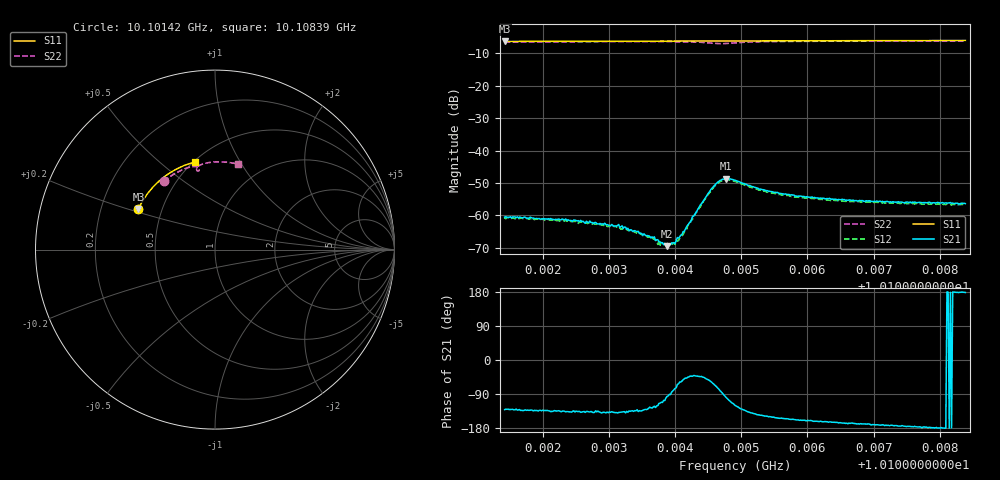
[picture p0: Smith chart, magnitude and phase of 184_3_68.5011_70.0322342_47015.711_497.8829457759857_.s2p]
#  HZ  S  RI  R  50.00
! Rohde & Schwarz Vector Network Analyzer
! Rohde-Schwarz,ZNB20-2Port,1311601062101988,3.16
! Created: UTC 3/20/2024, 4:56:51 PM
! freq[Hz]  re:S11  im:S11  re:S21  im:S21  re:S12  im:S12  re:S22  im:S22
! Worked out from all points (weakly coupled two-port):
!   401 points, 10.10142 GHz to 10.10839 GHz, reference 50 ohm
!   highest |S21| = -48.66 dB at 10.10476 GHz (marker M1); lowest = -69.5 dB at 10.10387 GHz (marker M2)
!   lowest |S11| = -6.3 dB at 10.10142 GHz (marker M3), VSWR 2.87, Z = 18.4 + j10.9 ohm
!   |S11| at or under -10 dB: nowhere
!   |S22| runs from -7.0 to -6.1 dB; largest |S21 - S12| = 0.00037
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1.0101415e10  -0.4268 0.2267  -0.000612 -0.000708  -0.000545 -0.000743  -0.2852 0.3808
1.0102305e10  -0.4011 0.2745  -0.000605 -0.000613  -0.000534 -0.000632  -0.2382 0.4149
1.0102584e10  -0.392 0.2887  -0.00059 -0.000544  -0.000525 -0.000589  -0.2225 0.4244
1.0103072e10  -0.3749 0.3131  -0.000511 -0.000452  -0.000473 -0.000475  -0.1938 0.4395
1.0103159e10  -0.3716 0.3173  -0.000485 -0.000437  -0.000428 -0.000483  -0.1885 0.442
1.010363e10  -0.3536 0.3393  -0.000262 -0.000361  -0.000248 -0.000378  -0.1582 0.4542
1.0103752e10  -0.3486 0.3449  -0.000162 -0.000356  -0.000165 -0.000376  -0.1497 0.4568
1.0103874e10  -0.3437 0.3505  -3.52e-05 -0.000332  -3.28e-05 -0.000379  -0.1412 0.4593
1.0103961e10  -0.34 0.3542  5.6e-05 -0.000369  7.27e-05 -0.000369  -0.1346 0.4605
1.0104014e10  -0.3377 0.3564  0.00012 -0.000392  0.000175 -0.00036  -0.1307 0.4613
1.0104083e10  -0.3349 0.3595  0.000262 -0.000419  0.000277 -0.000371  -0.1248 0.4619
1.0104432e10  -0.3195 0.3743  0.0012 -0.00124  0.00127 -0.0011  -0.095 0.4568
1.0104554e10  -0.314 0.379  0.00133 -0.00225  0.00143 -0.00204  -0.0881 0.4474
1.0104659e10  -0.3094 0.3831  0.000748 -0.00326  0.000964 -0.00309  -0.0906 0.4386
1.0104764e10  -0.3049 0.3875  -0.000498 -0.00366  -0.000164 -0.00352  -0.0987 0.4384
1.0104903e10  -0.2983 0.3929  -0.00173 -0.00301  -0.00136 -0.00303  -0.1023 0.4499
1.0105426e10  -0.2733 0.4124  -0.00202 -0.0012  -0.00184 -0.00131  -0.069 0.4769
1.0105845e10  -0.2524 0.4267  -0.00183 -0.000726  -0.0017 -0.000894  -0.0398 0.4839
1.0106072e10  -0.2408 0.4341  -0.00181 -0.000634  -0.00165 -0.000766  -0.0243 0.4863
1.0106543e10  -0.2159 0.4481  -0.0017 -0.000406  -0.00156 -0.000561  0.00713 0.4885
1.010724e10  -0.1778 0.4663  -0.0016 -0.00019  -0.00151 -0.00035  0.0527 0.4878
1.0108391e10  -0.112 0.4885  -0.00152 4.99e-05  -0.00146 -0.000125  0.1258 0.4769
